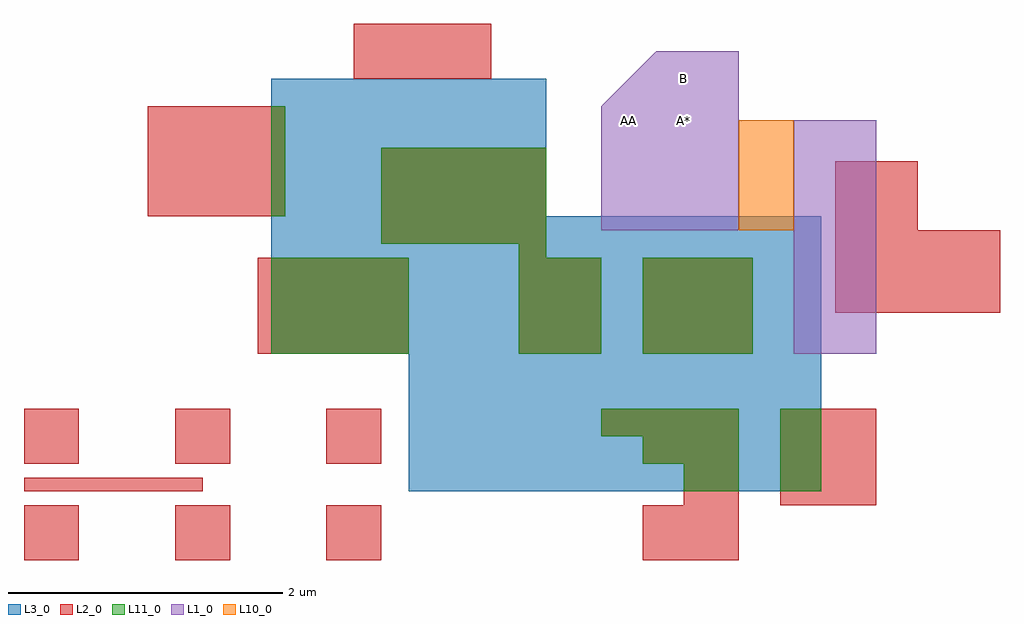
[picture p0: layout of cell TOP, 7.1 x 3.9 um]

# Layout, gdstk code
import gdstk
lib = gdstk.Library(unit=1e-6, precision=1e-09)
def R(c, l, rs):  # rectangles x0, y0, x1, y1
    for r in rs: c.add(gdstk.rectangle(r[:2], r[2:], *l))
def A(c, l, x, y, w, h, nx, ny, dx, dy):  # array of equal rectangles
    R(c, l, [(x+i*dx, y+j*dy, x+i*dx+w, y+j*dy+h) for i in range(nx) for j in range(ny)])
def P(c, l, *ps):  # polygons
    for p in ps: c.add(gdstk.Polygon(p, *l))
L1_0 = (1, 0)
L2_0 = (2, 0)
L3_0 = (3, 0)
L10_0 = (10, 0)
L11_0 = (11, 0)

top = lib.new_cell('TOP')
R(top, L1_0, [(-0.2,-4,0.4,-2.3)])
P(top, L1_0, [(-1.6,-3.1),(-1.6,-2.2),(-1.2,-1.8),(-0.6,-1.8),(-0.6,-3.1)])
A(top, L2_0, -5.8, -5.5, 0.4, 0.4, 3, 2, 1.1, 0.7)
R(top, L2_0, [(-0.3,-5.1,0.4,-4.4), (-5.8,-5,-4.5,-4.9), (-4.1,-4,-3,-3.3), (-1.3,-4,-0.5,-3.3), (-4.9,-3,-3.9,-2.2), (-3.4,-2,-2.4,-1.6)])
P(top, L2_0, [(0.1,-3.7),(0.1,-2.6),(0.7,-2.6),(0.7,-3.1),(1.3,-3.1),(1.3,-3.7)],
  [(-1.3,-5.5),(-1.3,-5.1),(-1,-5.1),(-1,-4.8),(-1.3,-4.8),(-1.3,-4.6),(-1.6,-4.6),(-1.6,-4.4),(-0.6,-4.4),(-0.6,-5.5)],
  [(-2.2,-4),(-2.2,-3.2),(-3.2,-3.2),(-3.2,-2.5),(-2,-2.5),(-2,-3.3),(-1.6,-3.3),(-1.6,-4)])
R(top, L3_0, [(-3,-5,0,-3), (-4,-4,-2,-2)])
R(top, L10_0, [(-0.601,-3.101,-0.199,-2.299)])
R(top, L11_0, [(-0.3,-5,0,-4.4), (-4,-4,-3,-3.3), (-1.3,-4,-0.5,-3.3), (-4,-3,-3.9,-2.2)])
P(top, L11_0, [(-1,-5),(-1,-4.8),(-1.3,-4.8),(-1.3,-4.6),(-1.6,-4.6),(-1.6,-4.4),(-0.6,-4.4),(-0.6,-5)],
  [(-2.2,-4),(-2.2,-3.2),(-3.2,-3.2),(-3.2,-2.5),(-2,-2.5),(-2,-3.3),(-1.6,-3.3),(-1.6,-4)])
top.add(gdstk.Label('AA', (-1.4,-2.3), layer=1, texttype=0))
top.add(gdstk.Label('A*', (-1,-2.3), layer=1, texttype=0))
top.add(gdstk.Label('B', (-1,-2), layer=1, texttype=0))
top.add(gdstk.Label('AA', (-1.4,-2.3), layer=20, texttype=0))
top.add(gdstk.Label('A*', (-1,-2.3), layer=20, texttype=0))
top.add(gdstk.Label('B', (-1,-2), layer=20, texttype=0))

lib.write_gds('TOP.gds')
